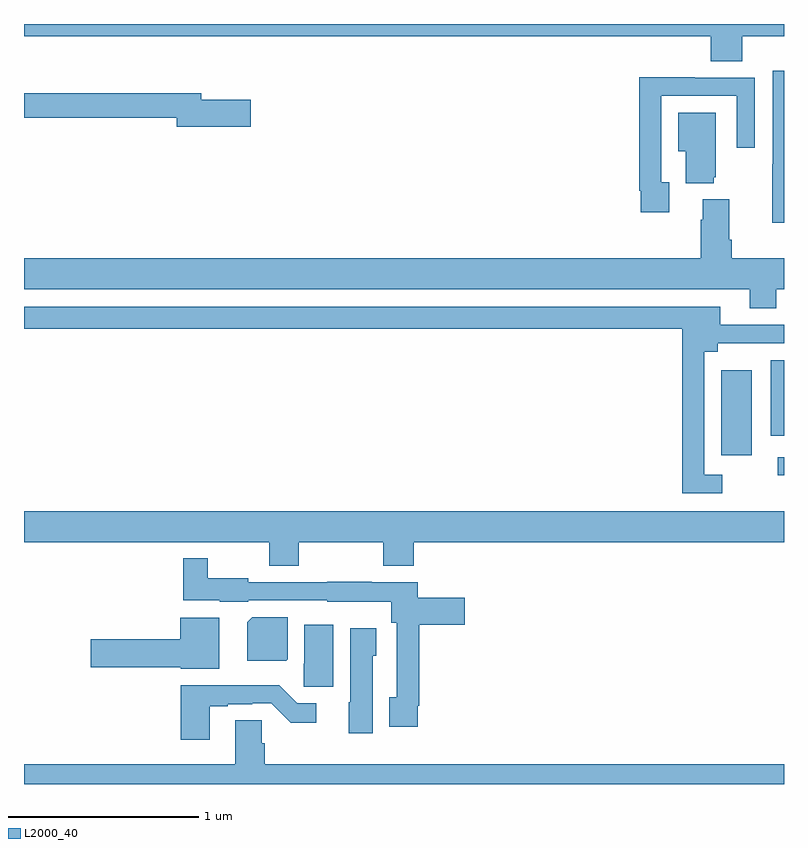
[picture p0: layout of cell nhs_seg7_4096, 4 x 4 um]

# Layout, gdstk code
import gdstk
lib = gdstk.Library(unit=1e-6, precision=1e-09)
def R(c, l, rs):  # rectangles x0, y0, x1, y1
    for r in rs: c.add(gdstk.rectangle(r[:2], r[2:], *l))
def P(c, l, *ps):  # polygons
    for p in ps: c.add(gdstk.Polygon(p, *l))
L2000_40 = (2000, 40)

nhs_seg7_4096 = lib.new_cell('nhs_seg7_4096')
R(nhs_seg7_4096, L2000_40, [(374.967,1011.624,375,1011.72), (374.669,1011.729,374.83,1012.177), (374.93,1011.833,375,1012.231)])
P(nhs_seg7_4096, L2000_40, [(374.78,1013.936),(375,1013.936),(375,1014),(371,1014),(371,1013.936),(374.615,1013.936),(374.615,1013.803),(374.78,1013.803)],
  [(375,1013.755),(374.94,1013.755),(374.94,1013.261),(374.938,1013.261),(374.938,1012.955),(375,1012.955)],
  [(374.395,1013.166),(374.355,1013.166),(374.355,1013.622),(374.751,1013.622),(374.751,1013.349),(374.847,1013.349),(374.847,1013.718),(374.531,1013.718),(374.531,1013.72),(374.239,1013.72),(374.239,1013.122),(374.247,1013.122),(374.247,1013.01),(374.395,1013.01)],
  [(372.193,1013.601),(371.932,1013.601),(371.932,1013.635),(371,1013.635),(371,1013.506),(371.804,1013.506),(371.804,1013.459),(372.193,1013.459)],
  [(374.63,1013.193),(374.641,1013.193),(374.641,1013.533),(374.444,1013.533),(374.444,1013.33),(374.483,1013.33),(374.483,1013.162),(374.63,1013.162)],
  [(374.959,1012.604),(375,1012.604),(375,1012.768),(374.726,1012.768),(374.726,1012.864),(374.713,1012.864),(374.713,1013.077),(374.573,1013.077),(374.573,1012.97),(374.561,1012.97),(374.561,1012.768),(371,1012.768),(371,1012.604),(374.819,1012.604),(374.819,1012.505),(374.959,1012.505)],
  [(374.674,1011.627),(374.58,1011.627),(374.58,1012.274),(374.65,1012.274),(374.65,1012.32),(375,1012.32),(375,1012.416),(374.665,1012.416),(374.665,1012.512),(371,1012.512),(371,1012.396),(374.464,1012.396),(374.464,1011.531),(374.674,1011.531)],
  [(372.447,1011.272),(372.892,1011.272),(372.892,1011.148),(373.052,1011.148),(373.052,1011.272),(375,1011.272),(375,1011.436),(371,1011.436),(371,1011.272),(372.292,1011.272),(372.292,1011.148),(372.447,1011.148)],
  [(373.072,1010.413),(373.079,1010.413),(373.079,1010.837),(373.321,1010.837),(373.321,1010.979),(373.073,1010.979),(373.073,1011.063),(372.829,1011.063),(372.829,1011.065),(372.597,1011.065),(372.597,1011.063),(372.18,1011.063),(372.18,1011.082),(371.968,1011.082),(371.968,1011.187),(371.839,1011.187),(371.839,1010.966),(372.03,1010.966),(372.03,1010.96),(372.18,1010.96),(372.18,1010.967),(372.597,1010.967),(372.597,1010.96),(372.932,1010.96),(372.932,1010.849),(372.963,1010.849),(372.963,1010.457),(372.923,1010.457),(372.923,1010.301),(373.072,1010.301)],
  [(372.388,1010.656),(372.388,1010.878),(372.202,1010.878),(372.176,1010.852),(372.176,1010.648),(372.38,1010.648)],
  [(372.028,1010.876),(371.822,1010.876),(371.822,1010.762),(371.352,1010.762),(371.352,1010.615),(371.826,1010.615),(371.826,1010.606),(372.028,1010.606)],
  [(372.628,1010.839),(372.476,1010.839),(372.476,1010.634),(372.472,1010.634),(372.472,1010.511),(372.628,1010.511)],
  [(372.835,1010.676),(372.853,1010.676),(372.853,1010.821),(372.716,1010.821),(372.716,1010.43),(372.71,1010.43),(372.71,1010.268),(372.835,1010.268)],
  [(371.977,1010.409),(372.073,1010.409),(372.073,1010.421),(372.2,1010.421),(372.2,1010.424),(372.3,1010.424),(372.403,1010.322),(372.538,1010.322),(372.538,1010.424),(372.438,1010.424),(372.343,1010.519),(371.825,1010.519),(371.825,1010.232),(371.977,1010.232)],
  [(375,1010.104),(372.266,1010.104),(372.266,1010.214),(372.252,1010.214),(372.252,1010.336),(372.113,1010.336),(372.113,1010.104),(371,1010.104),(371,1010),(375,1010)])

lib.write_gds('nhs_seg7_4096.gds')
